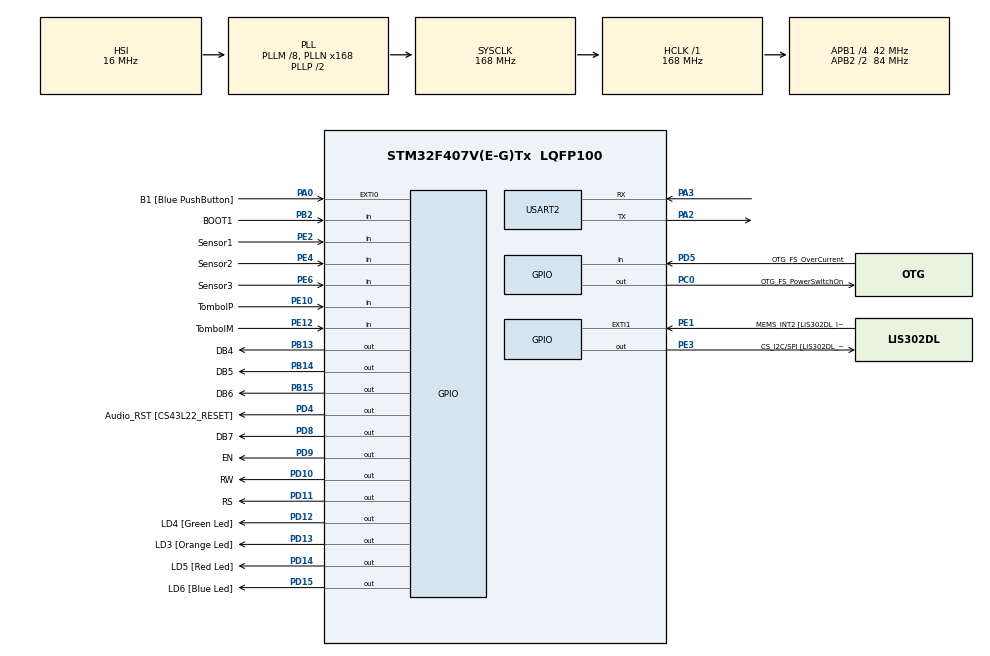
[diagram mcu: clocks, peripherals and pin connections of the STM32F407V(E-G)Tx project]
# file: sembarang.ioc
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Mcu.Family=STM32F4
Mcu.Name=STM32F407V(E-G)Tx
Mcu.Package=LQFP100
NVIC.PriorityGroup=NVIC_PRIORITYGROUP_0
PA0-WKUP.GPIO_Label=B1 [Blue PushButton]
PA0-WKUP.Signal=GPXTI0
PA10.GPIO_Label=OTG_FS_ID
PA10.GPIO_Mode=GPIO_MODE_AF_PP
PA10.GPIO_PuPd=GPIO_NOPULL
PA10.GPIO_Speed=GPIO_SPEED_FREQ_LOW
PA10.Signal=USB_OTG_FS_ID
PA11.GPIO_Label=OTG_FS_DM
PA11.GPIO_Mode=GPIO_MODE_AF_PP
PA11.GPIO_PuPd=GPIO_NOPULL
PA11.GPIO_Speed=GPIO_SPEED_FREQ_LOW
PA11.Signal=USB_OTG_FS_DM
PA12.GPIO_Label=OTG_FS_DP
PA12.GPIO_Mode=GPIO_MODE_AF_PP
PA12.GPIO_PuPd=GPIO_NOPULL
PA12.GPIO_Speed=GPIO_SPEED_FREQ_LOW
PA12.Signal=USB_OTG_FS_DP
PA13.GPIO_Label=SWDIO
PA13.Signal=SYS_JTMS-SWDIO
PA14.GPIO_Label=SWCLK
PA14.Signal=SYS_JTCK-SWCLK
PA2.Mode=Asynchronous
PA2.Signal=USART2_TX
PA3.Mode=Asynchronous
PA3.Signal=USART2_RX
PA4.GPIO_Label=I2S3_WS [CS43L22_LRCK]
PA4.GPIO_Mode=GPIO_MODE_AF_PP
PA4.GPIO_PuPd=GPIO_NOPULL
PA4.GPIO_Speed=GPIO_SPEED_FREQ_LOW
PA4.Signal=I2S3_WS
PA5.GPIO_Label=SPI1_SCK [LIS302DL_SCL/SPC]
PA5.GPIO_Mode=GPIO_MODE_AF_PP
PA5.GPIO_PuPd=GPIO_NOPULL
PA5.GPIO_Speed=GPIO_SPEED_FREQ_LOW
PA5.Signal=SPI1_SCK
PA6.GPIO_Label=SPI1_MISO [LIS302DL_SDO]
PA6.GPIO_Mode=GPIO_MODE_AF_PP
PA6.GPIO_PuPd=GPIO_NOPULL
PA6.GPIO_Speed=GPIO_SPEED_FREQ_LOW
PA6.Signal=SPI1_MISO
PA7.GPIO_Label=SPI1_MOSI [LIS302DL_SDA/SDI/SDO]
PA7.GPIO_Mode=GPIO_MODE_AF_PP
PA7.GPIO_PuPd=GPIO_NOPULL
PA7.GPIO_Speed=GPIO_SPEED_FREQ_LOW
PA7.Signal=SPI1_MOSI
PA9.GPIO_Label=VBUS_FS
PA9.GPIO_Mode=GPIO_MODE_INPUT
PA9.GPIO_PuPd=GPIO_NOPULL
PA9.Signal=USB_OTG_FS_VBUS
PB10.GPIO_Label=CLK_IN [MP45DT02_CLK]
PB10.GPIO_Mode=GPIO_MODE_AF_PP
PB10.GPIO_PuPd=GPIO_NOPULL
PB10.GPIO_Speed=GPIO_SPEED_FREQ_LOW
PB10.Signal=I2S2_CK
PB13.GPIO_Label=DB4
PB13.Signal=GPIO_Output
PB14.GPIO_Label=DB5
PB14.Signal=GPIO_Output
PB15.GPIO_Label=DB6
PB15.Signal=GPIO_Output
PB2.GPIO_Label=BOOT1
PB2.GPIO_Mode=GPIO_MODE_INPUT
PB2.GPIO_PuPd=GPIO_NOPULL
PB2.Signal=GPIO_Input
PB3.GPIO_Label=SWO
PB3.Signal=SYS_JTDO-SWO
PB6.GPIO_Label=Audio_SCL [CS43L22_SCL]
PB6.GPIO_Mode=GPIO_MODE_AF_OD
PB6.GPIO_PuPd=GPIO_NOPULL
PB6.GPIO_Speed=GPIO_SPEED_FREQ_LOW
PB6.Signal=I2C1_SCL
PB9.GPIO_Label=Audio_SDA [CS43L22_SDA]
PB9.GPIO_Mode=GPIO_MODE_AF_OD
PB9.GPIO_PuPd=GPIO_NOPULL
PB9.GPIO_Speed=GPIO_SPEED_FREQ_LOW
PB9.Signal=I2C1_SDA
PC0.GPIO_Label=OTG_FS_PowerSwitchOn
PC0.GPIO_PuPd=GPIO_NOPULL
PC0.GPIO_Speed=GPIO_SPEED_FREQ_LOW
PC0.PinState=GPIO_PIN_SET
PC0.Signal=GPIO_Output
PC10.GPIO_Label=I2S3_SCK [CS43L22_SCLK]
PC10.GPIO_Mode=GPIO_MODE_AF_PP
PC10.GPIO_PuPd=GPIO_NOPULL
PC10.GPIO_Speed=GPIO_SPEED_FREQ_LOW
PC10.Signal=I2S3_CK
PC12.GPIO_Label=I2S3_SD [CS43L22_SDIN]
PC12.GPIO_Mode=GPIO_MODE_AF_PP
PC12.GPIO_PuPd=GPIO_NOPULL
PC12.GPIO_Speed=GPIO_SPEED_FREQ_LOW
PC12.Signal=I2S3_SD
PC14-OSC32_IN.GPIO_Label=PC14-OSC32_IN
PC14-OSC32_IN.Signal=RCC_OSC32_IN
PC15-OSC32_OUT.GPIO_Label=PC15-OSC32_OUT
PC15-OSC32_OUT.Signal=RCC_OSC32_OUT
PC3.GPIO_Label=PDM_OUT [MP45DT02_DOUT]
PC3.GPIO_Mode=GPIO_MODE_AF_PP
PC3.GPIO_PuPd=GPIO_NOPULL
PC3.GPIO_Speed=GPIO_SPEED_FREQ_LOW
PC3.Signal=I2S2_SD
PC7.GPIO_Label=I2S3_MCK [CS43L22_MCLK]
PC7.GPIO_Mode=GPIO_MODE_AF_PP
PC7.GPIO_PuPd=GPIO_NOPULL
PC7.GPIO_Speed=GPIO_SPEED_FREQ_LOW
PC7.Signal=I2S3_MCK
PD10.GPIO_Label=RW
PD10.Signal=GPIO_Output
PD11.GPIO_Label=RS
PD11.Signal=GPIO_Output
PD12.GPIO_Label=LD4 [Green Led]
PD12.GPIO_PuPd=GPIO_NOPULL
PD12.GPIO_Speed=GPIO_SPEED_FREQ_LOW
PD12.Signal=GPIO_Output
PD13.GPIO_Label=LD3 [Orange Led]
PD13.GPIO_PuPd=GPIO_NOPULL
PD13.GPIO_Speed=GPIO_SPEED_FREQ_LOW
PD13.Signal=GPIO_Output
PD14.GPIO_Label=LD5 [Red Led]
PD14.GPIO_PuPd=GPIO_NOPULL
PD14.GPIO_Speed=GPIO_SPEED_FREQ_LOW
PD14.Signal=GPIO_Output
PD15.GPIO_Label=LD6 [Blue Led]
PD15.GPIO_PuPd=GPIO_NOPULL
PD15.GPIO_Speed=GPIO_SPEED_FREQ_LOW
PD15.Signal=GPIO_Output
PD4.GPIO_Label=Audio_RST [CS43L22_RESET]
PD4.GPIO_PuPd=GPIO_NOPULL
PD4.GPIO_Speed=GPIO_SPEED_FREQ_LOW
PD4.Signal=GPIO_Output
PD5.GPIO_Label=OTG_FS_OverCurrent
PD5.GPIO_Mode=GPIO_MODE_INPUT
PD5.GPIO_PuPd=GPIO_NOPULL
PD5.Signal=GPIO_Input
PD8.GPIO_Label=DB7
PD8.Signal=GPIO_Output
PD9.GPIO_Label=EN
PD9.Signal=GPIO_Output
PE1.GPIO_Label=MEMS_INT2 [LIS302DL_INT2]
PE1.GPIO_ModeDefaultEXTI=GPIO_MODE_EVT_RISING
PE1.GPIO_PuPd=GPIO_NOPULL
PE1.Signal=GPXTI1
PE10.GPIO_Label=TombolP
PE10.GPIO_PuPd=GPIO_PULLUP
PE10.Signal=GPIO_Input
PE12.GPIO_Label=TombolM
PE12.GPIO_PuPd=GPIO_PULLUP
PE12.Signal=GPIO_Input
PE2.GPIO_Label=Sensor1
PE2.GPIO_PuPd=GPIO_PULLUP
PE2.Signal=GPIO_Input
PE3.GPIO_Label=CS_I2C/SPI [LIS302DL_CS_I2C/SPI]
PE3.GPIO_PuPd=GPIO_NOPULL
PE3.GPIO_Speed=GPIO_SPEED_FREQ_LOW
PE3.Signal=GPIO_Output
PE4.GPIO_Label=Sensor2
PE4.GPIO_PuPd=GPIO_PULLUP
PE4.Signal=GPIO_Input
PE6.GPIO_Label=Sensor3
PE6.GPIO_PuPd=GPIO_PULLUP
PE6.Signal=GPIO_Input
PH0-OSC_IN.GPIO_Label=PH0-OSC_IN
PH0-OSC_IN.Signal=RCC_OSC_IN
PH1-OSC_OUT.GPIO_Label=PH1-OSC_OUT
PH1-OSC_OUT.Signal=RCC_OSC_OUT
ProjectManager.HeapSize=0x200
ProjectManager.StackSize=0x400
ProjectManager.TargetToolchain=SW4STM32
RCC.48MHZClocksFreq_Value=48000000
RCC.AHBCLKDivider=RCC_SYSCLK_DIV1
RCC.AHBFreq_Value=168000000
RCC.APB1CLKDivider=RCC_HCLK_DIV4
RCC.APB1Freq_Value=42000000
RCC.APB1TimFreq_Value=84000000
RCC.APB2CLKDivider=RCC_HCLK_DIV2
RCC.APB2Freq_Value=84000000
RCC.APB2TimFreq_Value=168000000
RCC.ClockTypeHCLK=RCC_CLOCKTYPE_HCLK
RCC.ClockTypePCLK1=RCC_CLOCKTYPE_PCLK1
RCC.ClockTypePCLK2=RCC_CLOCKTYPE_PCLK2
RCC.ClockTypeSysClk=RCC_CLOCKTYPE_SYSCLK
RCC.CortexFreq_Value=168000000
RCC.EnableExtClockForI2S=false
RCC.EnableHSE=false
RCC.EnableHSERTCDevisor=false
RCC.EnableLSE=false
RCC.EnableLSERTC=false
RCC.ExtClockEnable=false
RCC.HCLKFreq_Value=168000000
RCC.HSEState=RCC_HSE_OFF
RCC.HSE_VALUE=8000000
RCC.HSIState=RCC_HSI_ON
RCC.HSI_VALUE=16000000
RCC.I2SEnable=false
RCC.IWDGEnable=false
RCC.LSE_VALUE=32768
RCC.LSIState=RCC_LSI_OFF
RCC.MCO1OutPutEnable=false
RCC.MCO2OutPutEnable=false
RCC.OscillatorTypeHSI=RCC_OSCILLATORTYPE_HSI
RCC.PLLM=8
RCC.PLLN=168
RCC.PLLP=RCC_PLLP_DIV2
RCC.PLLQ=7
RCC.PLLSource=RCC_PLLSOURCE_HSI
RCC.PLLSourceVirtual=RCC_PLLSOURCE_HSI
RCC.PLLState=RCC_PLL_ON
RCC.RNGEnable=false
RCC.RTCEnable=false
RCC.SDIOEnable=false
RCC.SYSCLKFreq_VALUE=168000000
RCC.SYSCLKSource=RCC_SYSCLKSOURCE_PLLCLK
RCC.USBFSEnable=false
RCC.USBHSEnable=false
RCC.VCOOutputFreq_Value=336000000
TIM1.Period=20
TIM1.Prescaler=42000
USART2.HwFlowCtl-Asynchronous=UART_HWCONTROL_NONE
USART2.VirtualMode=VM_ASYNC
VP_TIM1_VS_ClockSourceINT.Mode=Internal
board=STM32F4DISCOVERY

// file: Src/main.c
/**
  ******************************************************************************
  * File Name          : main.c
  * Description        : Main program body
  ******************************************************************************
  *
  * COPYRIGHT(c) 2017 STMicroelectronics
  *
  * Redistribution and use in source and binary forms, with or without modification,
  * are permitted provided that the following conditions are met:
  *   1. Redistributions of source code must retain the above copyright notice,
  *      this list of conditions and the following disclaimer.
  *   2. Redistributions in binary form must reproduce the above copyright notice,
  *      this list of conditions and the following disclaimer in the documentation
  *      and/or other materials provided with the distribution.
  *   3. Neither the name of STMicroelectronics nor the names of its contributors
  *      may be used to endorse or promote products derived from this software
  *      without specific prior written permission.
  *
  * THIS SOFTWARE IS PROVIDED BY THE COPYRIGHT HOLDERS AND CONTRIBUTORS "AS IS"
  * AND ANY EXPRESS OR IMPLIED WARRANTIES, INCLUDING, BUT NOT LIMITED TO, THE
  * IMPLIED WARRANTIES OF MERCHANTABILITY AND FITNESS FOR A PARTICULAR PURPOSE ARE
  * DISCLAIMED. IN NO EVENT SHALL THE COPYRIGHT HOLDER OR CONTRIBUTORS BE LIABLE
  * FOR ANY DIRECT, INDIRECT, INCIDENTAL, SPECIAL, EXEMPLARY, OR CONSEQUENTIAL
  * DAMAGES (INCLUDING, BUT NOT LIMITED TO, PROCUREMENT OF SUBSTITUTE GOODS OR
  * SERVICES; LOSS OF USE, DATA, OR PROFITS; OR BUSINESS INTERRUPTION) HOWEVER
  * CAUSED AND ON ANY THEORY OF LIABILITY, WHETHER IN CONTRACT, STRICT LIABILITY,
  * OR TORT (INCLUDING NEGLIGENCE OR OTHERWISE) ARISING IN ANY WAY OUT OF THE USE
  * OF THIS SOFTWARE, EVEN IF ADVISED OF THE POSSIBILITY OF SUCH DAMAGE.
  *
  ******************************************************************************
  */
#include "main.h"
#include "stm32f4xx_hal.h"

/* USER CODE BEGIN Includes */
#include "LCD.h"
#include "sensor.h"

/* USER CODE END Includes */

TIM_HandleTypeDef htim1;

UART_HandleTypeDef huart2;

/* USER CODE BEGIN PV */
/* Private variables ---------------------------------------------------------*/
u_int16_t _md = 0, _d = 0, _m = 0;
u_int8_t lap[3] = { 0, 0, 0 };
u_int8_t _status;
u_int16_t _tO[3] = { 0, 0, 0 };
char krm[16];
char kata[30];
char lcd[16];
uint8_t _enable = 0;
/* USER CODE END PV */

void SystemClock_Config(void);
void Error_Handler(void);
static void MX_GPIO_Init(void);
static void MX_USART2_UART_Init(void);
static void MX_TIM1_Init(void);

/* USER CODE BEGIN PFP */
/* Private function prototypes -----------------------------------------------*/

/* USER CODE END PFP */

/* USER CODE BEGIN 0 */
void HAL_TIM_PeriodElapsedCallback(TIM_HandleTypeDef *htim6) {
	if (_md == 99) {
		_md = 0;
		if (_d == 59) {
			_m++;
			_d = 0;
		} else {
			_d++;
		}
	} else {
		_md++;
	}
	_tO[0]++;
	_tO[1]++;
	_tO[2]++;
}
/* USER CODE END 0 */

int main(void)
{

  /* MCU Configuration----------------------------------------------------------*/

  /* Reset of all peripherals, Initializes the Flash interface and the Systick. */
  HAL_Init();

  /* Configure the system clock */
  SystemClock_Config();

  /* Initialize all configured peripherals */
  MX_GPIO_Init();
  MX_USART2_UART_Init();
  MX_TIM1_Init();

  /* USER CODE BEGIN 2 */
  htim1.Instance = TIM1;
  	lcd_init();
  	lcd_putstr("Lap Counter");
  /* USER CODE END 2 */

  /* Infinite loop */
  while (1)
  {

  /* USER CODE BEGIN 3 */
	  if (TombolM()) {
	  			lcd_clear();
	  			lcd_gotoxy(0, 0);
	  			if (_enable == 0) {
	  				_enable = 1;
	  				HAL_TIM_Base_Start_IT(&htim1);
	  				lcd_putstr("Started");
	  			} else {
	  				_enable = 0;
	  				HAL_TIM_Base_Stop_IT(&htim1);
	  				lcd_putstr("Stoped");
	  			}

	  		}
	  		if (TombolP()) {
	  			_enable = 0;
	  			HAL_TIM_Base_Stop_IT(&htim1);
	  			_md = 0;
	  			_d = 0;
	  			_m = 0;
	  			lap[0] = 0;
	  			lap[1] = 0;
	  			lap[2] = 0;
	  			lcd_clear();
	  			lcd_gotoxy(0, 0);
	  			lcd_putstr("Reseted");

	  		}
	  		if (_enable) {
	  			if (Sensor1() == 1 || _tO[0] >= 500) {
	  				if (_tO[0] < 500) {
	  					lap[0]++;
	  					lcd_gotoxy(0, 0);
	  					sprintf(lcd, "M1 l%2d %2d:%2d:%2d", lap[0], _m, _d, _md);
	  					HAL_UART_Transmit(&huart2, (uint8_t *) lcd, 15, 10);
	  					HAL_UART_Transmit(&huart2, (uint8_t *) "\r\n", 2, 10);
	  					lcd_putstr(lcd);
	  					_tO[0] = 0;
	  				} else {
	  					_tO[0] = 0;
	  					lcd_clear();
	  					sprintf(krm, "Sensor 1 error");
	  					HAL_UART_Transmit(&huart2, (uint8_t *) krm, 14, 10);
	  					HAL_UART_Transmit(&huart2, (uint8_t *) "\r\n", 2, 10);
	  					lcd_gotoxy(0, 0);
	  					lcd_putstr(krm);
	  					lcd_gotoxy(0, 1);
	  					lcd_putstr("Silahkan cek");
	  				}
	  			}
	  			if (Sensor2() || _tO[1] >= 500) {
	  				if (_tO[1] < 500) {
	  					lap[1]++;
	  					lcd_gotoxy(0, 1);
	  					sprintf(lcd, "M2 l%2d %2d:%2d:%2d", lap[1], _m, _d, _md);
	  					HAL_UART_Transmit(&huart2, (uint8_t *) lcd, 15, 10);
	  					HAL_UART_Transmit(&huart2, (uint8_t *) "\r\n", 2, 10);
	  					lcd_putstr(lcd);
	  					_tO[1] = 0;
	  				} else {
	  					lcd_clear();
	  					_tO[1] = 0;
	  					lcd_clear();
	  					sprintf(krm, "Sensor 2 error");
	  					HAL_UART_Transmit(&huart2, (uint8_t *) krm, 14, 10);
	  					HAL_UART_Transmit(&huart2, (uint8_t *) "\r\n", 2, 10);
	  					lcd_gotoxy(0, 0);
	  					lcd_putstr(krm);
	  					lcd_gotoxy(0, 1);
	  					lcd_putstr("Silahkan cek");
	  				}
	  			}
	  			if (Sensor3() || _tO[2] >= 500) {
	  				if (_tO[2] < 500) {
	  					lap[2]++;
	  					lcd_gotoxy(0, 0);
	  					sprintf(lcd, "M3 l%2d %2d:%2d:%2d", lap[2], _m, _d, _md);
	  					HAL_UART_Transmit(&huart2, (uint8_t *) lcd, 15, 10);
	  					HAL_UART_Transmit(&huart2, (uint8_t *) "\r\n", 2, 10);
	  					lcd_putstr(lcd);
	  					_tO[2] = 0;
	  				} else {
	  					lcd_clear();
	  					_tO[2] = 0;
	  					sprintf(krm, "Sensor 3 error");
	  					HAL_UART_Transmit(&huart2, (uint8_t *) krm, 14, 10);
	  					HAL_UART_Transmit(&huart2, (uint8_t *) "\r\n", 2, 10);
	  					lcd_gotoxy(0, 0);
	  					lcd_putstr(krm);
	  					lcd_gotoxy(0, 1);
	  					lcd_putstr("Silahkan cek");
	  				}
	  			}
	  		}
	  	}

  }
  /* USER CODE END 3 */

/** System Clock Configuration
*/
void SystemClock_Config(void)
{

  RCC_OscInitTypeDef RCC_OscInitStruct;
  RCC_ClkInitTypeDef RCC_ClkInitStruct;

    /**Configure the main internal regulator output voltage
    */
  __HAL_RCC_PWR_CLK_ENABLE();

  __HAL_PWR_VOLTAGESCALING_CONFIG(PWR_REGULATOR_VOLTAGE_SCALE1);

    /**Initializes the CPU, AHB and APB busses clocks
    */
  RCC_OscInitStruct.OscillatorType = RCC_OSCILLATORTYPE_HSI;
  RCC_OscInitStruct.HSIState = RCC_HSI_ON;
  RCC_OscInitStruct.HSICalibrationValue = 16;
  RCC_OscInitStruct.PLL.PLLState = RCC_PLL_ON;
  RCC_OscInitStruct.PLL.PLLSource = RCC_PLLSOURCE_HSI;
  RCC_OscInitStruct.PLL.PLLM = 8;
  RCC_OscInitStruct.PLL.PLLN = 168;
  RCC_OscInitStruct.PLL.PLLP = RCC_PLLP_DIV2;
  RCC_OscInitStruct.PLL.PLLQ = 7;
  if (HAL_RCC_OscConfig(&RCC_OscInitStruct) != HAL_OK)
  {
    Error_Handler();
  }

    /**Initializes the CPU, AHB and APB busses clocks
    */
  RCC_ClkInitStruct.ClockType = RCC_CLOCKTYPE_HCLK|RCC_CLOCKTYPE_SYSCLK
                              |RCC_CLOCKTYPE_PCLK1|RCC_CLOCKTYPE_PCLK2;
  RCC_ClkInitStruct.SYSCLKSource = RCC_SYSCLKSOURCE_PLLCLK;
  RCC_ClkInitStruct.AHBCLKDivider = RCC_SYSCLK_DIV1;
  RCC_ClkInitStruct.APB1CLKDivider = RCC_HCLK_DIV4;
  RCC_ClkInitStruct.APB2CLKDivider = RCC_HCLK_DIV2;

  if (HAL_RCC_ClockConfig(&RCC_ClkInitStruct, FLASH_LATENCY_5) != HAL_OK)
  {
    Error_Handler();
  }

    /**Configure the Systick interrupt time
    */
  HAL_SYSTICK_Config(HAL_RCC_GetHCLKFreq()/1000);

    /**Configure the Systick
    */
  HAL_SYSTICK_CLKSourceConfig(SYSTICK_CLKSOURCE_HCLK);

  /* SysTick_IRQn interrupt configuration */
  HAL_NVIC_SetPriority(SysTick_IRQn, 0, 0);
}

/* TIM1 init function */
static void MX_TIM1_Init(void)
{

  TIM_ClockConfigTypeDef sClockSourceConfig;
  TIM_MasterConfigTypeDef sMasterConfig;

  htim1.Instance = TIM1;
  htim1.Init.Prescaler = 42000;
  htim1.Init.CounterMode = TIM_COUNTERMODE_UP;
  htim1.Init.Period = 20;
  htim1.Init.ClockDivision = TIM_CLOCKDIVISION_DIV1;
  htim1.Init.RepetitionCounter = 0;
  if (HAL_TIM_Base_Init(&htim1) != HAL_OK)
  {
    Error_Handler();
  }

  sClockSourceConfig.ClockSource = TIM_CLOCKSOURCE_INTERNAL;
  if (HAL_TIM_ConfigClockSource(&htim1, &sClockSourceConfig) != HAL_OK)
  {
    Error_Handler();
  }

  sMasterConfig.MasterOutputTrigger = TIM_TRGO_RESET;
  sMasterConfig.MasterSlaveMode = TIM_MASTERSLAVEMODE_DISABLE;
  if (HAL_TIMEx_MasterConfigSynchronization(&htim1, &sMasterConfig) != HAL_OK)
  {
    Error_Handler();
  }

}

/* USART2 init function */
static void MX_USART2_UART_Init(void)
{

  huart2.Instance = USART2;
  huart2.Init.BaudRate = 115200;
  huart2.Init.WordLength = UART_WORDLENGTH_8B;
  huart2.Init.StopBits = UART_STOPBITS_1;
  huart2.Init.Parity = UART_PARITY_NONE;
  huart2.Init.Mode = UART_MODE_TX_RX;
  huart2.Init.HwFlowCtl = UART_HWCONTROL_NONE;
  huart2.Init.OverSampling = UART_OVERSAMPLING_16;
  if (HAL_UART_Init(&huart2) != HAL_OK)
  {
    Error_Handler();
  }

}

/** Configure pins as
        * Analog
        * Input
        * Output
        * EVENT_OUT
        * EXTI
     PC3   ------> I2S2_SD
     PA4   ------> I2S3_WS
     PA5   ------> SPI1_SCK
     PA6   ------> SPI1_MISO
     PA7   ------> SPI1_MOSI
     PB10   ------> I2S2_CK
     PC7   ------> I2S3_MCK
     PA9   ------> USB_OTG_FS_VBUS
     PA10   ------> USB_OTG_FS_ID
     PA11   ------> USB_OTG_FS_DM
     PA12   ------> USB_OTG_FS_DP
     PC10   ------> I2S3_CK
     PC12   ------> I2S3_SD
     PB6   ------> I2C1_SCL
     PB9   ------> I2C1_SDA
*/
static void MX_GPIO_Init(void)
{

  GPIO_InitTypeDef GPIO_InitStruct;

  /* GPIO Ports Clock Enable */
  __HAL_RCC_GPIOE_CLK_ENABLE();
  __HAL_RCC_GPIOC_CLK_ENABLE();
  __HAL_RCC_GPIOH_CLK_ENABLE();
  __HAL_RCC_GPIOA_CLK_ENABLE();
  __HAL_RCC_GPIOB_CLK_ENABLE();
  __HAL_RCC_GPIOD_CLK_ENABLE();

  /*Configure GPIO pin Output Level */
  HAL_GPIO_WritePin(CS_I2C_SPI_GPIO_Port, CS_I2C_SPI_Pin, GPIO_PIN_RESET);

  /*Configure GPIO pin Output Level */
  HAL_GPIO_WritePin(OTG_FS_PowerSwitchOn_GPIO_Port, OTG_FS_PowerSwitchOn_Pin, GPIO_PIN_SET);

  /*Configure GPIO pin Output Level */
  HAL_GPIO_WritePin(GPIOB, DB4_Pin|DB5_Pin|DB6_Pin, GPIO_PIN_RESET);

  /*Configure GPIO pin Output Level */
  HAL_GPIO_WritePin(GPIOD, DB7_Pin|EN_Pin|RW_Pin|RS_Pin
                          |LD4_Pin|LD3_Pin|LD5_Pin|LD6_Pin
                          |Audio_RST_Pin, GPIO_PIN_RESET);

  /*Configure GPIO pins : Sensor1_Pin Sensor2_Pin Sensor3_Pin TombolP_Pin
                           TombolM_Pin */
  GPIO_InitStruct.Pin = Sensor1_Pin|Sensor2_Pin|Sensor3_Pin|TombolP_Pin
                          |TombolM_Pin;
  GPIO_InitStruct.Mode = GPIO_MODE_INPUT;
  GPIO_InitStruct.Pull = GPIO_PULLUP;
  HAL_GPIO_Init(GPIOE, &GPIO_InitStruct);

  /*Configure GPIO pin : CS_I2C_SPI_Pin */
  GPIO_InitStruct.Pin = CS_I2C_SPI_Pin;
  GPIO_InitStruct.Mode = GPIO_MODE_OUTPUT_PP;
  GPIO_InitStruct.Pull = GPIO_NOPULL;
  GPIO_InitStruct.Speed = GPIO_SPEED_FREQ_LOW;
  HAL_GPIO_Init(CS_I2C_SPI_GPIO_Port, &GPIO_InitStruct);

  /*Configure GPIO pin : OTG_FS_PowerSwitchOn_Pin */
  GPIO_InitStruct.Pin = OTG_FS_PowerSwitchOn_Pin;
  GPIO_InitStruct.Mode = GPIO_MODE_OUTPUT_PP;
  GPIO_InitStruct.Pull = GPIO_NOPULL;
  GPIO_InitStruct.Speed = GPIO_SPEED_FREQ_LOW;
  HAL_GPIO_Init(OTG_FS_PowerSwitchOn_GPIO_Port, &GPIO_InitStruct);

  /*Configure GPIO pin : PDM_OUT_Pin */
  GPIO_InitStruct.Pin = PDM_OUT_Pin;
  GPIO_InitStruct.Mode = GPIO_MODE_AF_PP;
  GPIO_InitStruct.Pull = GPIO_NOPULL;
  GPIO_InitStruct.Speed = GPIO_SPEED_FREQ_LOW;
  GPIO_InitStruct.Alternate = GPIO_AF5_SPI2;
  HAL_GPIO_Init(PDM_OUT_GPIO_Port, &GPIO_InitStruct);

  /*Configure GPIO pin : B1_Pin */
  GPIO_InitStruct.Pin = B1_Pin;
  GPIO_InitStruct.Mode = GPIO_MODE_IT_RISING;
  GPIO_InitStruct.Pull = GPIO_NOPULL;
  HAL_GPIO_Init(B1_GPIO_Port, &GPIO_InitStruct);

  /*Configure GPIO pin : I2S3_WS_Pin */
  GPIO_InitStruct.Pin = I2S3_WS_Pin;
  GPIO_InitStruct.Mode = GPIO_MODE_AF_PP;
  GPIO_InitStruct.Pull = GPIO_NOPULL;
  GPIO_InitStruct.Speed = GPIO_SPEED_FREQ_LOW;
  GPIO_InitStruct.Alternate = GPIO_AF6_SPI3;
  HAL_GPIO_Init(I2S3_WS_GPIO_Port, &GPIO_InitStruct);

  /*Configure GPIO pins : SPI1_SCK_Pin SPI1_MISO_Pin SPI1_MOSI_Pin */
  GPIO_InitStruct.Pin = SPI1_SCK_Pin|SPI1_MISO_Pin|SPI1_MOSI_Pin;
  GPIO_InitStruct.Mode = GPIO_MODE_AF_PP;
  GPIO_InitStruct.Pull = GPIO_NOPULL;
  GPIO_InitStruct.Speed = GPIO_SPEED_FREQ_LOW;
  GPIO_InitStruct.Alternate = GPIO_AF5_SPI1;
  HAL_GPIO_Init(GPIOA, &GPIO_InitStruct);

  /*Configure GPIO pin : BOOT1_Pin */
  GPIO_InitStruct.Pin = BOOT1_Pin;
  GPIO_InitStruct.Mode = GPIO_MODE_INPUT;
  GPIO_InitStruct.Pull = GPIO_NOPULL;
  HAL_GPIO_Init(BOOT1_GPIO_Port, &GPIO_InitStruct);

  /*Configure GPIO pin : CLK_IN_Pin */
  GPIO_InitStruct.Pin = CLK_IN_Pin;
  GPIO_InitStruct.Mode = GPIO_MODE_AF_PP;
  GPIO_InitStruct.Pull = GPIO_NOPULL;
  GPIO_InitStruct.Speed = GPIO_SPEED_FREQ_LOW;
  GPIO_InitStruct.Alternate = GPIO_AF5_SPI2;
  HAL_GPIO_Init(CLK_IN_GPIO_Port, &GPIO_InitStruct);

  /*Configure GPIO pins : DB4_Pin DB5_Pin DB6_Pin */
  GPIO_InitStruct.Pin = DB4_Pin|DB5_Pin|DB6_Pin;
  GPIO_InitStruct.Mode = GPIO_MODE_OUTPUT_PP;
  GPIO_InitStruct.Pull = GPIO_NOPULL;
  GPIO_InitStruct.Speed = GPIO_SPEED_FREQ_LOW;
  HAL_GPIO_Init(GPIOB, &GPIO_InitStruct);

  /*Configure GPIO pins : DB7_Pin EN_Pin RW_Pin RS_Pin
                           LD4_Pin LD3_Pin LD5_Pin LD6_Pin
                           Audio_RST_Pin */
  GPIO_InitStruct.Pin = DB7_Pin|EN_Pin|RW_Pin|RS_Pin
                          |LD4_Pin|LD3_Pin|LD5_Pin|LD6_Pin
                          |Audio_RST_Pin;
  GPIO_InitStruct.Mode = GPIO_MODE_OUTPUT_PP;
  GPIO_InitStruct.Pull = GPIO_NOPULL;
  GPIO_InitStruct.Speed = GPIO_SPEED_FREQ_LOW;
  HAL_GPIO_Init(GPIOD, &GPIO_InitStruct);

  /*Configure GPIO pins : I2S3_MCK_Pin I2S3_SCK_Pin I2S3_SD_Pin */
  GPIO_InitStruct.Pin = I2S3_MCK_Pin|I2S3_SCK_Pin|I2S3_SD_Pin;
  GPIO_InitStruct.Mode = GPIO_MODE_AF_PP;
  GPIO_InitStruct.Pull = GPIO_NOPULL;
  GPIO_InitStruct.Speed = GPIO_SPEED_FREQ_LOW;
  GPIO_InitStruct.Alternate = GPIO_AF6_SPI3;
  HAL_GPIO_Init(GPIOC, &GPIO_InitStruct);

  /*Configure GPIO pin : VBUS_FS_Pin */
  GPIO_InitStruct.Pin = VBUS_FS_Pin;
  GPIO_InitStruct.Mode = GPIO_MODE_INPUT;
  GPIO_InitStruct.Pull = GPIO_NOPULL;
  HAL_GPIO_Init(VBUS_FS_GPIO_Port, &GPIO_InitStruct);

  /*Configure GPIO pins : OTG_FS_ID_Pin OTG_FS_DM_Pin OTG_FS_DP_Pin */
  GPIO_InitStruct.Pin = OTG_FS_ID_Pin|OTG_FS_DM_Pin|OTG_FS_DP_Pin;
  GPIO_InitStruct.Mode = GPIO_MODE_AF_PP;
  GPIO_InitStruct.Pull = GPIO_NOPULL;
  GPIO_InitStruct.Speed = GPIO_SPEED_FREQ_LOW;
  GPIO_InitStruct.Alternate = GPIO_AF10_OTG_FS;
  HAL_GPIO_Init(GPIOA, &GPIO_InitStruct);

  /*Configure GPIO pin : OTG_FS_OverCurrent_Pin */
  GPIO_InitStruct.Pin = OTG_FS_OverCurrent_Pin;
  GPIO_InitStruct.Mode = GPIO_MODE_INPUT;
  GPIO_InitStruct.Pull = GPIO_NOPULL;
  HAL_GPIO_Init(OTG_FS_OverCurrent_GPIO_Port, &GPIO_InitStruct);

  /*Configure GPIO pins : Audio_SCL_Pin Audio_SDA_Pin */
  GPIO_InitStruct.Pin = Audio_SCL_Pin|Audio_SDA_Pin;
  GPIO_InitStruct.Mode = GPIO_MODE_AF_OD;
  GPIO_InitStruct.Pull = GPIO_PULLUP;
  GPIO_InitStruct.Speed = GPIO_SPEED_FREQ_LOW;
  GPIO_InitStruct.Alternate = GPIO_AF4_I2C1;
  HAL_GPIO_Init(GPIOB, &GPIO_InitStruct);

  /*Configure GPIO pin : MEMS_INT2_Pin */
  GPIO_InitStruct.Pin = MEMS_INT2_Pin;
  GPIO_InitStruct.Mode = GPIO_MODE_EVT_RISING;
  GPIO_InitStruct.Pull = GPIO_NOPULL;
  HAL_GPIO_Init(MEMS_INT2_GPIO_Port, &GPIO_InitStruct);

}

void Error_Handler(void)
{
  while(1)
  {
  }
}

/************************ (C) COPYRIGHT STMicroelectronics *****END OF FILE****/
